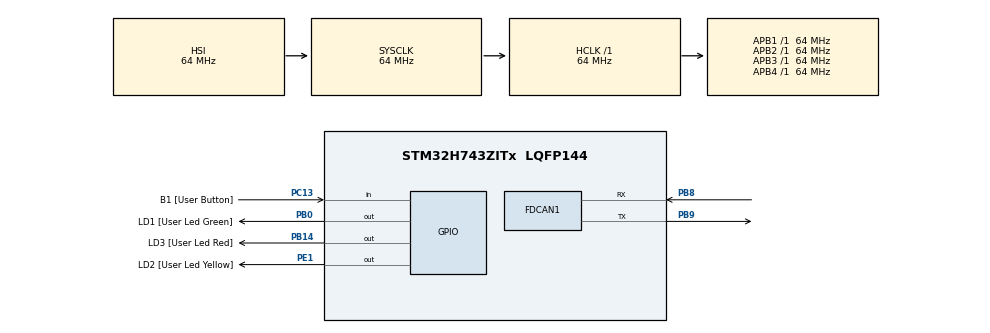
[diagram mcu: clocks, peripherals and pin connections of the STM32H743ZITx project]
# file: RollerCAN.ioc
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CORTEX_M7.default_mode_Activation=0
FDCAN1.CalculateBaudRateNominal=500000
FDCAN1.CalculateTimeBitNominal=2000
FDCAN1.CalculateTimeQuantumNominal=47.61904761904762
FDCAN1.DataTimeSeg1=32
FDCAN1.DataTimeSeg2=9
FDCAN1.ExtFiltersNbr=1
FDCAN1.NominalPrescaler=1
FDCAN1.NominalTimeSeg1=32
FDCAN1.NominalTimeSeg2=9
FDCAN1.RxFifo0ElmtsNbr=1
FDCAN1.StdFiltersNbr=1
FDCAN1.TxFifoQueueElmtsNbr=1
Mcu.Family=STM32H7
Mcu.Name=STM32H743ZITx
Mcu.Package=LQFP144
NVIC.FDCAN1_IT0_IRQn=true\:0\:0\:false\:false\:true\:true\:true\:true
NVIC.PriorityGroup=NVIC_PRIORITYGROUP_4
PA13\ (JTMS/SWDIO).GPIO_Label=JTMS
PA13\ (JTMS/SWDIO).Signal=DEBUG_JTMS-SWDIO
PA14\ (JTCK/SWCLK).GPIO_Label=JTCK
PA14\ (JTCK/SWCLK).Signal=DEBUG_JTCK-SWCLK
PB0.GPIO_Label=LD1 [User Led Green]
PB0.Signal=GPIO_Output
PB14.GPIO_Label=LD3 [User Led Red]
PB14.Signal=GPIO_Output
PB8.Mode=FDCAN_Activate
PB8.Signal=FDCAN1_RX
PB9.Mode=FDCAN_Activate
PB9.Signal=FDCAN1_TX
PC13.GPIO_Label=B1 [User Button]
PC13.Signal=GPIO_Input
PC14-OSC32_IN\ (OSC32_IN).Signal=RCC_OSC32_IN
PC15-OSC32_OUT\ (OSC32_OUT).Signal=RCC_OSC32_OUT
PD8.GPIO_Label=STLINK_RX
PD8.Signal=USART3_TX
PD9.GPIO_Label=STLINK_TX
PD9.Signal=USART3_RX
PE1.GPIO_Label=LD2 [User Led Yellow]
PE1.Signal=GPIO_Output
PH0-OSC_IN\ (PH0).Signal=RCC_OSC_IN
PH1-OSC_OUT\ (PH1).Signal=RCC_OSC_OUT
ProjectManager.HeapSize=0x200
ProjectManager.StackSize=0x400
ProjectManager.TargetToolchain=STM32CubeIDE
RCC.ADCFreq_Value=8062500
RCC.APB1Freq_Value=64000000
RCC.APB2Freq_Value=64000000
RCC.APB3Freq_Value=64000000
RCC.APB4Freq_Value=64000000
RCC.CortexFreq_Value=64000000
RCC.DIVM1=1
RCC.DIVN1=42
RCC.DIVQ1=8
RCC.HCLKFreq_Value=64000000
RCC.PLLFRACN=0
RCC.PLLSourceVirtual=RCC_PLLSOURCE_CSI
RCC.SYSCLKFreq_VALUE=64000000
RCC.USBFreq_Value=21000000
VP_MEMORYMAP_VS_MEMORYMAP.Mode=CurAppReg
board=NUCLEO-H743ZI2

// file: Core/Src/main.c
/* USER CODE BEGIN Header */
/**
  ******************************************************************************
  * @file           : main.c
  * @brief          : Main program body
  ******************************************************************************
  * @attention
  *
  * Copyright (c) 2026 STMicroelectronics.
  * All rights reserved.
  *
  * This software is licensed under terms that can be found in the LICENSE file
  * in the root directory of this software component.
  * If no LICENSE file comes with this software, it is provided AS-IS.
  *
  ******************************************************************************
  */
/* USER CODE END Header */
#include "main.h"
#include "fdcan.h"
#include "gpio.h"

/* USER CODE BEGIN Includes */
#include "RollerCAN.h"
#include "string.h"
/* USER CODE END Includes */

/* USER CODE BEGIN PD */
#define ROLLER_CAN_ID 0xA8
/* USER CODE END PD */

/* USER CODE BEGIN PV */
RollerCAN_t RollerCAN;

uint32_t temp;
uint32_t temp1;
/* USER CODE END PV */

void SystemClock_Config(void);
/* USER CODE BEGIN PFP */
void RollerCAN_SendCallback(uint32_t id, uint8_t* data);
void RollerCAN_UpdateFilter(uint32_t address);
/* USER CODE END PFP */

int main(void)
{

  /* MCU Configuration--------------------------------------------------------*/

  /* Reset of all peripherals, Initializes the Flash interface and the Systick. */
  HAL_Init();

  /* Configure the system clock */
  SystemClock_Config();

  /* Initialize all configured peripherals */
  MX_GPIO_Init();
  MX_FDCAN1_Init();
  /* USER CODE BEGIN 2 */
  if(HAL_FDCAN_Start(&hfdcan1)!= HAL_OK)
  {
	  Error_Handler();
  }
  HAL_FDCAN_ActivateNotification(&hfdcan1, FDCAN_IT_TX_FIFO_EMPTY, 0);
  if (HAL_FDCAN_ActivateNotification(&hfdcan1, FDCAN_IT_RX_FIFO0_NEW_MESSAGE, 0) != HAL_OK)
  {
    /* Notification Error */
    Error_Handler();
  }

  RollerCAN_Init(&RollerCAN, ROLLER_CAN_ID, RollerCAN_SendCallback, RollerCAN_UpdateFilter);

  /* USER CODE END 2 */

  /* Infinite loop */
  /* USER CODE BEGIN WHILE */

  RollerCAN_SetMode(&RollerCAN, ROLLER_MODE_SPEED);
  RollerCAN_OnOff(&RollerCAN, true);
  RollerCAN_SetSpeedMotor(&RollerCAN, 2000);
  RollerCAN_SetSpeedCurrent(&RollerCAN, 100);
  RollerCAN_SetSpeed_kD(&RollerCAN, 0.002);
  RollerCAN_SetSpeed_kI(&RollerCAN, 0.002);
  RollerCAN_SetSpeed_kP(&RollerCAN, 0.002);

  while (1)
  {
	  temp1 = RollerCAN_ReadActualCurrent(&RollerCAN);
	  temp = RollerCAN_ReadSpeedMotor(&RollerCAN);
    /* USER CODE END WHILE */

  }
}

void SystemClock_Config(void)
{
  RCC_OscInitTypeDef RCC_OscInitStruct = {0};
  RCC_ClkInitTypeDef RCC_ClkInitStruct = {0};

  /** Supply configuration update enable
  */
  HAL_PWREx_ConfigSupply(PWR_LDO_SUPPLY);

  /** Configure the main internal regulator output voltage
  */
  __HAL_PWR_VOLTAGESCALING_CONFIG(PWR_REGULATOR_VOLTAGE_SCALE3);

  while(!__HAL_PWR_GET_FLAG(PWR_FLAG_VOSRDY)) {}

  /** Initializes the RCC Oscillators according to the specified parameters
  * in the RCC_OscInitTypeDef structure.
  */
  RCC_OscInitStruct.OscillatorType = RCC_OSCILLATORTYPE_CSI|RCC_OSCILLATORTYPE_HSI;
  RCC_OscInitStruct.HSIState = RCC_HSI_DIV1;
  RCC_OscInitStruct.HSICalibrationValue = RCC_HSICALIBRATION_DEFAULT;
  RCC_OscInitStruct.CSIState = RCC_CSI_ON;
  RCC_OscInitStruct.CSICalibrationValue = RCC_CSICALIBRATION_DEFAULT;
  RCC_OscInitStruct.PLL.PLLState = RCC_PLL_ON;
  RCC_OscInitStruct.PLL.PLLSource = RCC_PLLSOURCE_CSI;
  RCC_OscInitStruct.PLL.PLLM = 1;
  RCC_OscInitStruct.PLL.PLLN = 42;
  RCC_OscInitStruct.PLL.PLLP = 2;
  RCC_OscInitStruct.PLL.PLLQ = 8;
  RCC_OscInitStruct.PLL.PLLR = 2;
  RCC_OscInitStruct.PLL.PLLRGE = RCC_PLL1VCIRANGE_2;
  RCC_OscInitStruct.PLL.PLLVCOSEL = RCC_PLL1VCOMEDIUM;
  RCC_OscInitStruct.PLL.PLLFRACN = 0;
  if (HAL_RCC_OscConfig(&RCC_OscInitStruct) != HAL_OK)
  {
    Error_Handler();
  }

  /** Initializes the CPU, AHB and APB buses clocks
  */
  RCC_ClkInitStruct.ClockType = RCC_CLOCKTYPE_HCLK|RCC_CLOCKTYPE_SYSCLK
                              |RCC_CLOCKTYPE_PCLK1|RCC_CLOCKTYPE_PCLK2
                              |RCC_CLOCKTYPE_D3PCLK1|RCC_CLOCKTYPE_D1PCLK1;
  RCC_ClkInitStruct.SYSCLKSource = RCC_SYSCLKSOURCE_HSI;
  RCC_ClkInitStruct.SYSCLKDivider = RCC_SYSCLK_DIV1;
  RCC_ClkInitStruct.AHBCLKDivider = RCC_HCLK_DIV1;
  RCC_ClkInitStruct.APB3CLKDivider = RCC_APB3_DIV1;
  RCC_ClkInitStruct.APB1CLKDivider = RCC_APB1_DIV1;
  RCC_ClkInitStruct.APB2CLKDivider = RCC_APB2_DIV1;
  RCC_ClkInitStruct.APB4CLKDivider = RCC_APB4_DIV1;

  if (HAL_RCC_ClockConfig(&RCC_ClkInitStruct, FLASH_LATENCY_1) != HAL_OK)
  {
    Error_Handler();
  }
}

/* USER CODE BEGIN 4 */
void HAL_FDCAN_RxFifo0Callback(FDCAN_HandleTypeDef *hfdcan, uint32_t RxFifo0ITs)
{
	FDCAN_RxHeaderTypeDef   RxHeader;
	uint8_t               RxData[8];

  if((RxFifo0ITs & FDCAN_IT_RX_FIFO0_NEW_MESSAGE) != RESET)
  {
    /* Retreive Rx messages from RX FIFO0 */
    if (HAL_FDCAN_GetRxMessage(hfdcan, FDCAN_RX_FIFO0, &RxHeader, RxData) != HAL_OK)
    {
    	Error_Handler();
    }
    else
    {
    	RollerCAN_ReadFrame(&RollerCAN, RxHeader.Identifier, RxData);
    }

    if (HAL_FDCAN_ActivateNotification(hfdcan, FDCAN_IT_RX_FIFO0_NEW_MESSAGE, 0) != HAL_OK)
    {
      /* Notification Error */
      Error_Handler();
    }
  }
}
void HAL_FDCAN_TxFifoEmptyCallback(FDCAN_HandleTypeDef *hfdcan)
{
    // Wszystkie ramki wysłane – można wysłać kolejne
    RollerCAN_TxComplete(&RollerCAN);  // ustaw flagę w bibliotece
}
void RollerCAN_SendCallback(uint32_t id, uint8_t* data)
{
	FDCAN_TxHeaderTypeDef txHeader;
	txHeader.Identifier = id;
	txHeader.IdType = FDCAN_EXTENDED_ID;
	txHeader.TxFrameType = FDCAN_DATA_FRAME;
	txHeader.DataLength = FDCAN_DLC_BYTES_8;
	txHeader.ErrorStateIndicator = FDCAN_ESI_PASSIVE;
	txHeader.BitRateSwitch = FDCAN_BRS_OFF;
	txHeader.FDFormat = FDCAN_CLASSIC_CAN;
	txHeader.TxEventFifoControl = FDCAN_NO_TX_EVENTS;
	txHeader.MessageMarker = 0;

	HAL_FDCAN_AddMessageToTxFifoQ(&hfdcan1, &txHeader, data);
}

void RollerCAN_UpdateFilter(uint32_t address)
{

	  FDCAN_FilterTypeDef sFilterConfig;
	  sFilterConfig.FilterIndex = 0;
	  sFilterConfig.IdType = FDCAN_EXTENDED_ID;
	  sFilterConfig.FilterType = FDCAN_FILTER_MASK;
	  sFilterConfig.FilterConfig = FDCAN_FILTER_TO_RXFIFO0;
	  sFilterConfig.FilterID1 = address;//0x0000; //(uint32_t)ROLLER_CAN_ID;
	  sFilterConfig.FilterID2 = 0x000000FF; //0x000000FF;

	  if (HAL_FDCAN_ConfigFilter(&hfdcan1, &sFilterConfig) != HAL_OK)
	  {
	    /* Filter configuration Error */
	    Error_Handler();
	  }

}
/* USER CODE END 4 */

void Error_Handler(void)
{
  __disable_irq();
  while (1)
  {
  }
}
